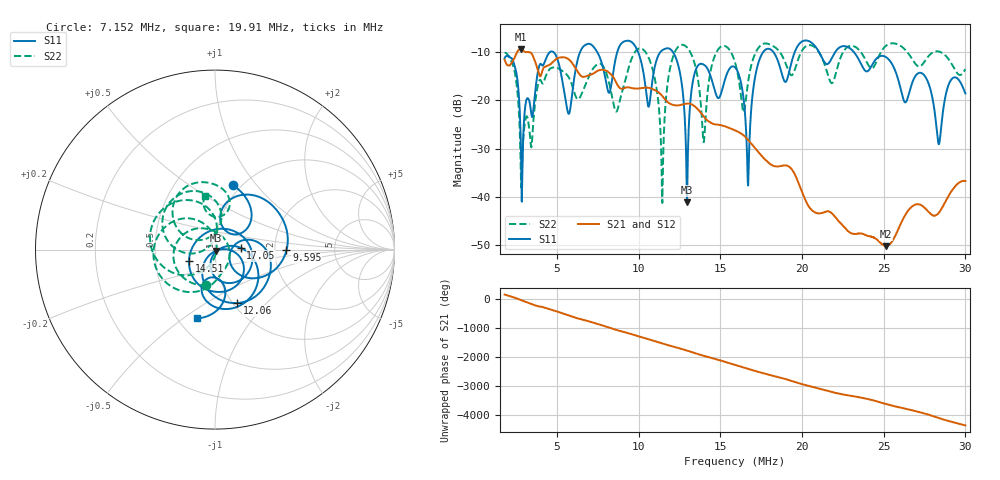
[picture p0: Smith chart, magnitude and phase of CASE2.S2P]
!Agilent Technologies,E5061B,MY49101568,A.02.00
!Date: Wed Mar 01 16:27:43 2023
!Data & Calibration Information:
!Freq	S11:SOLT2(OFF)	S21:SOLT2(OFF)	S12:SOLT2(OFF)	S22:SOLT2(OFF)
# Hz S dB R 50
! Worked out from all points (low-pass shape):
!   1155 points, 1.8 MHz to 30 MHz, reference 50 ohm
!   highest |S21| = -9.42 dB at 2.777 MHz (marker M1); lowest = -50.2 dB at 25.14 MHz (marker M2)
!   |S21| within 3 dB of the highest: 2.186 MHz to 3.713 MHz (1.527 MHz wide, 51.8 % of centre); 4.646 MHz to 5.961 MHz (1.315 MHz wide, 24.8 % of centre)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
!   lowest |S11| = -41.1 dB at 12.97 MHz (marker M3), VSWR 1.02, Z = 50.6 - j0.649 ohm
!   |S11| at or under -10 dB: start of sweep to 4.573 MHz; 12.1 MHz to 17.63 MHz (5.526 MHz wide, 37.2 % of centre); 23.17 MHz to end of sweep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
!   |S22| runs from -41.2 to -8.2 dB; largest |S21 - S12| = 0.0046
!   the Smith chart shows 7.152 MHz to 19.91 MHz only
!   S11 on the Smith chart (normalised r, x): 7.152 MHz: 0.91, +0.76; 9.595 MHz: 2.32, -0.02; 12.06 MHz: 1.05, -0.70; 14.51 MHz: 0.74, -0.09; 17.05 MHz: 1.33, +0.03; 19.91 MHz: 0.62, -0.57
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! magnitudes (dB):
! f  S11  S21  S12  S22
! 1.8 MHz  -11.3  -11.6  -11.6  -10.2
! 2.777 MHz  -26.9  -9.4  -9.4  -32.6
! 4.586 MHz  -10.0  -12.6  -12.6  -13.4
! 5.71 MHz  -22.8  -11.5  -11.5  -15.1
! 6.516 MHz  -9.3  -15.0  -15.0  -18.6
! 7.152 MHz  -8.6  -14.6  -14.5  -13.7
! 9.595 MHz  -8.0  -17.5  -17.4  -11.2
! 11.21 MHz  -10.7  -18.3  -18.3  -20.3
! 11.48 MHz  -9.6  -19.2  -19.2  -36.4
! 12.06 MHz  -9.8  -20.9  -21.0  -11.4
! 12.97 MHz  -41.1  -20.7  -20.7  -9.1
! 13.97 MHz  -12.6  -23.3  -23.3  -28.6
! 14.51 MHz  -16.1  -24.8  -24.8  -12.4
! 15.9 MHz  -13.2  -26.2  -26.3  -12.1
! 16.68 MHz  -37.0  -28.1  -28.1  -16.6
! 17.05 MHz  -16.9  -29.5  -29.6  -11.0
! 19.91 MHz  -8.1  -38.1  -38.1  -10.3
! 20.62 MHz  -8.1  -42.8  -42.7  -8.7
! 25.14 MHz  -11.0  -50.2  -50.1  -8.7
! 25.31 MHz  -11.5  -49.9  -49.9  -8.4
! 28.36 MHz  -29.1  -43.3  -43.2  -9.9
! 30 MHz  -18.6  -36.7  -36.6  -13.5
